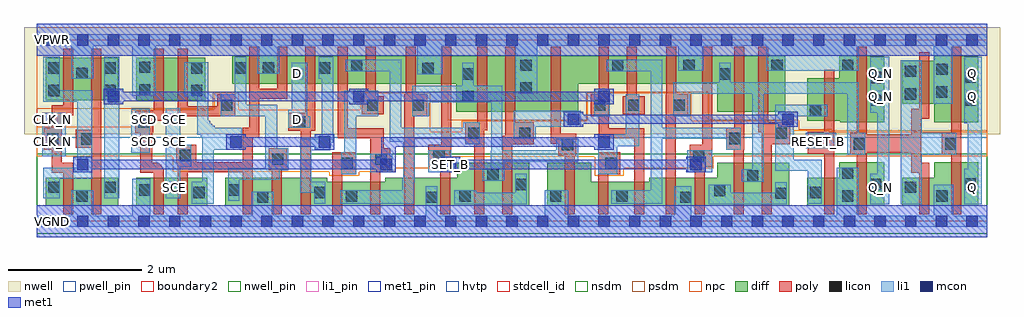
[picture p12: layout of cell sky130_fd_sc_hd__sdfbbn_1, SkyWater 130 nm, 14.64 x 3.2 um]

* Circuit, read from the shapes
.subckt sky130_fd_sc_hd__sdfbbn_1 CLK_N D Q Q_N RESET_B SCD SCE SET_B VGND VNB VPB VPWR
XM1 VGND CLK_N n1 VNB sky130_fd_pr__nfet_01v8 w=0.42 l=0.15
XM2 n2 n1 VGND VNB sky130_fd_pr__nfet_01v8 w=0.42 l=0.15
XM3 n3 SCD VGND VNB sky130_fd_pr__nfet_01v8 w=0.42 l=0.15
XM4 n4 SCE n3 VNB sky130_fd_pr__nfet_01v8 w=0.42 l=0.15
XM5 VGND SCE n5 VNB sky130_fd_pr__nfet_01v8 w=0.42 l=0.15
XM6 n6 n5 VGND VNB sky130_fd_pr__nfet_01v8 w=0.42 l=0.15
XM7 n4 D n6 VNB sky130_fd_pr__nfet_01v8 w=0.42 l=0.15
XM8 n7 n2 n4 VNB sky130_fd_pr__nfet_01v8 w=0.36 l=0.15
XM9 n8 n1 n7 VNB sky130_fd_pr__nfet_01v8 w=0.36 l=0.15
XM10 VGND n9 n8 VNB sky130_fd_pr__nfet_01v8 w=0.42 l=0.15
XM11 n10 SET_B VGND VNB sky130_fd_pr__nfet_01v8 w=0.42 l=0.15
XM12 n9 n7 n10 VNB sky130_fd_pr__nfet_01v8 w=0.64 l=0.15
XM13 n10 n11 n9 VNB sky130_fd_pr__nfet_01v8 w=0.64 l=0.15
XM14 n12 n9 VGND VNB sky130_fd_pr__nfet_01v8 w=0.64 l=0.15
XM15 n13 n1 n12 VNB sky130_fd_pr__nfet_01v8 w=0.36 l=0.15
XM16 n14 n2 n13 VNB sky130_fd_pr__nfet_01v8 w=0.36 l=0.15
XM17 VGND n15 n14 VNB sky130_fd_pr__nfet_01v8 w=0.42 l=0.15
XM18 n16 SET_B VGND VNB sky130_fd_pr__nfet_01v8 w=0.42 l=0.15
XM19 n15 n13 n16 VNB sky130_fd_pr__nfet_01v8 w=0.64 l=0.15
XM20 n16 n11 n15 VNB sky130_fd_pr__nfet_01v8 w=0.64 l=0.15
XM21 VGND RESET_B n11 VNB sky130_fd_pr__nfet_01v8 w=0.42 l=0.15
XM22 Q_N n15 VGND VNB sky130_fd_pr__nfet_01v8 w=0.65 l=0.15
XM23 VGND n15 n17 VNB sky130_fd_pr__nfet_01v8 w=0.42 l=0.15
XM24 Q n17 VGND VNB sky130_fd_pr__nfet_01v8 w=0.65 l=0.15
XM25 VPWR CLK_N n1 VPB sky130_fd_pr__pfet_01v8_hvt w=0.64 l=0.15
XM26 n2 n1 VPWR VPB sky130_fd_pr__pfet_01v8_hvt w=0.64 l=0.15
XM27 n18 SCD VPWR VPB sky130_fd_pr__pfet_01v8_hvt w=0.64 l=0.15
XM28 n4 n5 n18 VPB sky130_fd_pr__pfet_01v8_hvt w=0.64 l=0.15
XM29 VPWR SCE n5 VPB sky130_fd_pr__pfet_01v8_hvt w=0.42 l=0.15
XM30 n19 SCE VPWR VPB sky130_fd_pr__pfet_01v8_hvt w=0.42 l=0.15
XM31 n4 D n19 VPB sky130_fd_pr__pfet_01v8_hvt w=0.42 l=0.15
XM32 n7 n1 n4 VPB sky130_fd_pr__pfet_01v8_hvt w=0.42 l=0.15
XM33 n20 n2 n7 VPB sky130_fd_pr__pfet_01v8_hvt w=0.42 l=0.15
XM34 VPWR n9 n20 VPB sky130_fd_pr__pfet_01v8_hvt w=0.42 l=0.15
XM35 n9 SET_B VPWR VPB sky130_fd_pr__pfet_01v8_hvt w=0.42 l=0.15
XM36 n21 n7 n9 VPB sky130_fd_pr__pfet_01v8_hvt w=0.84 l=0.15
XM37 VPWR n11 n21 VPB sky130_fd_pr__pfet_01v8_hvt w=0.84 l=0.15
XM38 n22 n9 VPWR VPB sky130_fd_pr__pfet_01v8_hvt w=0.84 l=0.15
XM39 n13 n2 n22 VPB sky130_fd_pr__pfet_01v8_hvt w=0.42 l=0.15
XM40 n23 n1 n13 VPB sky130_fd_pr__pfet_01v8_hvt w=0.42 l=0.15
XM41 VPWR n15 n23 VPB sky130_fd_pr__pfet_01v8_hvt w=0.42 l=0.15
XM42 n15 SET_B VPWR VPB sky130_fd_pr__pfet_01v8_hvt w=0.42 l=0.15
XM43 n24 n13 n15 VPB sky130_fd_pr__pfet_01v8_hvt w=0.84 l=0.15
XM44 VPWR n11 n24 VPB sky130_fd_pr__pfet_01v8_hvt w=0.84 l=0.15
XM45 VPWR RESET_B n11 VPB sky130_fd_pr__pfet_01v8_hvt w=0.64 l=0.15
XM46 Q_N n15 VPWR VPB sky130_fd_pr__pfet_01v8_hvt w=1 l=0.15
XM47 VPWR n15 n17 VPB sky130_fd_pr__pfet_01v8_hvt w=0.64 l=0.15
XM48 Q n17 VPWR VPB sky130_fd_pr__pfet_01v8_hvt w=1 l=0.15
.ends

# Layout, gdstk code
import gdstk
lib = gdstk.Library(unit=1e-6, precision=1e-09)
def R(c, l, rs):  # rectangles x0, y0, x1, y1
    for r in rs: c.add(gdstk.rectangle(r[:2], r[2:], *l))
def A(c, l, x, y, w, h, nx, ny, dx, dy):  # array of equal rectangles
    R(c, l, [(x+i*dx, y+j*dy, x+i*dx+w, y+j*dy+h) for i in range(nx) for j in range(ny)])
def P(c, l, *ps):  # polygons
    for p in ps: c.add(gdstk.Polygon(p, *l))
nwell_pin = (64, 16)
nwell = (64, 20)
diff = (65, 20)
poly = (66, 20)
licon = (66, 44)
li1_pin = (67, 16)
li1 = (67, 20)
mcon = (67, 44)
met1_pin = (68, 16)
met1 = (68, 20)
hvtp = (78, 44)
stdcell_id = (81, 4)
nsdm = (93, 44)
psdm = (94, 20)
npc = (95, 20)
pwell_pin = (122, 16)
boundary2 = (236, 0)

sky130_fd_sc_hd__sdfbbn_ = lib.new_cell('sky130_fd_sc_hd__sdfbbn_1')
R(sky130_fd_sc_hd__sdfbbn_, nwell_pin, [(0.145,2.635,0.315,2.805), (0.145,2.635,0.315,2.805)])
R(sky130_fd_sc_hd__sdfbbn_, nwell, [(-0.19,1.305,14.45,2.91)])
R(sky130_fd_sc_hd__sdfbbn_, diff, [(0.135,0.235,1.225,0.655), (1.495,0.235,2.56,0.655), (0.135,1.815,1.225,2.455), (1.495,1.815,2.525,2.455)])
P(sky130_fd_sc_hd__sdfbbn_, diff, [(14.125,2.485),(13.465,2.485),(13.465,2.405),(12.98,2.405),(12.98,1.765),(13.465,1.765),(13.465,1.485),(14.125,1.485)],
  [(7.39,0.875),(6.31,0.875),(6.31,0.655),(5.225,0.655),(5.225,0.595),(4.36,0.595),(4.36,0.655),(2.83,0.655),(2.83,0.235),(7.39,0.235)],
  [(14.125,0.885),(13.465,0.885),(13.465,0.655),(12.98,0.655),(12.98,0.235),(14.125,0.235)],
  [(12.71,0.885),(12.04,0.885),(12.04,0.655),(11.555,0.655),(11.555,0.235),(12.71,0.235)],
  [(11.23,2.485),(2.93,2.485),(2.93,2.065),(6.295,2.065),(6.295,1.645),(8.12,1.645),(8.12,2.065),(10.205,2.065),(10.205,1.645),(11.23,1.645)],
  [(11.285,0.875),(10.205,0.875),(10.205,0.655),(9.185,0.655),(9.185,0.595),(8.32,0.595),(8.32,0.875),(7.66,0.875),(7.66,0.235),(11.285,0.235)],
  [(12.71,2.485),(12.04,2.485),(12.04,2.145),(11.555,2.145),(11.555,1.505),(12.05,1.505),(12.05,1.485),(12.71,1.485)])
R(sky130_fd_sc_hd__sdfbbn_, poly, [(7.92,0.105,8.07,1)])
P(sky130_fd_sc_hd__sdfbbn_, poly, [(0.545,0.88),(0.375,0.88),(0.375,1.59),(0.545,1.59),(0.545,2.585),(0.395,2.585),(0.395,1.74),(0.225,1.74),(0.225,1.4),(0.105,1.4),(0.105,1.07),(0.225,1.07),(0.225,0.73),(0.395,0.73),(0.395,0.105),(0.545,0.105)],
  [(0.965,2.585),(0.815,2.585),(0.815,1.37),(0.585,1.37),(0.585,1.1),(0.815,1.1),(0.815,0.105),(0.965,0.105)],
  [(1.905,0.785),(1.895,0.785),(1.895,0.805),(1.885,0.805),(1.885,0.82),(1.875,0.82),(1.875,0.835),(1.865,0.835),(1.865,0.845),(1.855,0.845),(1.855,0.85),(1.845,0.85),(1.845,0.86),(1.83,0.86),(1.83,0.87),(1.81,0.87),(1.81,0.88),(1.73,0.88),(1.73,1.325),(1.745,1.325),(1.745,1.505),(1.905,1.505),(1.905,2.585),(1.755,2.585),(1.755,1.655),(1.475,1.655),(1.475,1.325),(1.555,1.325),(1.555,0.73),(1.755,0.73),(1.755,0.105),(1.905,0.105)],
  [(2.98,1.905),(2.71,1.905),(2.71,1.725),(2.265,1.725),(2.265,2.585),(2.115,2.585),(2.115,1.575),(2.96,1.575),(2.96,1.585),(2.97,1.585),(2.97,1.59),(2.98,1.59)],
  [(3.75,1.095),(3.48,1.095),(3.48,0.765),(3.525,0.765),(3.525,0.105),(3.675,0.105),(3.675,0.765),(3.75,0.765)],
  [(3.76,2.615),(3.61,2.615),(3.61,1.985),(3.34,1.985),(3.34,2.615),(3.19,2.615),(3.19,1.405),(3.09,1.405),(3.09,0.885),(2.395,0.885),(2.395,1.15),(2.09,1.15),(2.09,0.885),(2.095,0.885),(2.095,0.875),(2.1,0.875),(2.1,0.865),(2.105,0.865),(2.105,0.85),(2.11,0.85),(2.11,0.835),(2.115,0.835),(2.115,0.105),(2.265,0.105),(2.265,0.735),(3.09,0.735),(3.09,0.105),(3.24,0.105),(3.24,1.255),(3.34,1.255),(3.34,1.835),(3.76,1.835)],
  [(4.18,2.615),(4.03,2.615),(4.03,1.625),(3.775,1.625),(3.775,1.355),(3.96,1.355),(3.96,0.105),(4.11,0.105),(4.11,1.355),(4.18,1.355)],
  [(4.79,1.035),(4.435,1.035),(4.435,0.105),(4.585,0.105),(4.585,0.705),(4.79,0.705)],
  [(5.205,1.875),(5.085,1.875),(5.085,2.615),(4.935,2.615),(4.935,1.875),(4.875,1.875),(4.875,1.605),(5.205,1.605)],
  [(5.3,1.095),(5.205,1.095),(5.205,1.395),(4.665,1.395),(4.665,2.615),(4.515,2.615),(4.515,1.245),(5,1.245),(5,0.105),(5.15,0.105),(5.15,0.765),(5.3,0.765)],
  [(5.855,1.905),(5.685,1.905),(5.685,2.615),(5.535,2.615),(5.535,1.905),(5.51,1.905),(5.51,0.105),(5.66,0.105),(5.66,1.575),(5.855,1.575)],
  [(6.215,2.615),(6.065,2.615),(6.065,1.145),(5.87,1.145),(5.87,0.815),(6.055,0.815),(6.055,0.105),(6.205,0.105),(6.205,1.065),(6.215,1.065)],
  [(13.39,0.88),(13.265,0.88),(13.265,1.535),(13.39,1.535),(13.39,2.535),(13.24,2.535),(13.24,1.685),(13.115,1.685),(13.115,1.295),(12.45,1.295),(12.45,2.615),(12.3,2.615),(12.3,1.325),(12.205,1.325),(12.205,0.995),(12.3,0.995),(12.3,0.105),(12.45,0.105),(12.45,1.025),(13.115,1.025),(13.115,0.73),(13.24,0.73),(13.24,0.105),(13.39,0.105)],
  [(11.3,1.485),(10.97,1.485),(10.97,2.615),(10.82,2.615),(10.82,1.335),(10.875,1.335),(10.875,0.105),(11.025,0.105),(11.025,1.155),(11.3,1.155)],
  [(10.13,2.615),(9.98,2.615),(9.98,1.145),(9.795,1.145),(9.795,0.815),(9.87,0.815),(9.87,0.105),(10.02,0.105),(10.02,0.815),(10.13,0.815)],
  [(9.77,1.905),(9.59,1.905),(9.59,2.615),(9.44,2.615),(9.44,1.905),(9.435,1.905),(9.435,0.105),(9.585,0.105),(9.585,1.575),(9.77,1.575)],
  [(6.755,2.615),(6.605,2.615),(6.605,1.485),(6.425,1.485),(6.425,1.155),(6.56,1.155),(6.56,0.105),(6.71,0.105),(6.71,1.365),(6.755,1.365)],
  [(8.095,1.315),(7.86,1.315),(7.86,2.615),(7.71,2.615),(7.71,1.165),(7.825,1.165),(7.825,0.985),(8.095,0.985)],
  [(7.455,1.485),(7.175,1.485),(7.175,2.615),(7.025,2.615),(7.025,1.285),(6.98,1.285),(6.98,0.105),(7.13,0.105),(7.13,1.155),(7.455,1.155)],
  [(11.965,2.275),(11.815,2.275),(11.815,1.345),(11.565,1.345),(11.565,1.015),(11.815,1.015),(11.815,0.105),(11.965,0.105)],
  [(8.75,1.035),(8.42,1.035),(8.42,0.105),(8.57,0.105),(8.57,0.705),(8.75,0.705)],
  [(9.11,1.395),(8.58,1.395),(8.58,2.615),(8.43,2.615),(8.43,1.905),(8.31,1.905),(8.31,1.575),(8.43,1.575),(8.43,1.245),(8.96,1.245),(8.96,0.105),(9.11,0.105)],
  [(9.12,1.875),(9,1.875),(9,2.615),(8.85,2.615),(8.85,1.875),(8.79,1.875),(8.79,1.605),(9.12,1.605)],
  [(10.61,2.615),(10.46,2.615),(10.46,1.405),(10.34,1.405),(10.34,1.075),(10.455,1.075),(10.455,0.105),(10.605,0.105),(10.605,1.075),(10.61,1.075)],
  [(13.865,2.615),(13.715,2.615),(13.715,1.325),(13.575,1.325),(13.575,0.995),(13.715,0.995),(13.715,0.105),(13.865,0.105)])
R(sky130_fd_sc_hd__sdfbbn_, licon, [(3.305,0.275,3.475,0.445), (5.835,0.275,6.005,0.445), (9.65,0.275,9.82,0.445), (0.595,0.295,0.765,0.465), (4.635,0.295,4.805,0.465), (6.34,0.295,6.51,0.465), (7.7,0.295,7.87,0.465), (8.695,0.295,8.865,0.465), (12.08,0.295,12.25,0.465), (13.495,0.295,13.665,0.465), (11.075,0.335,11.245,0.505), (2.35,0.345,2.52,0.515), (4.16,0.345,4.33,0.515), (11.595,0.345,11.765,0.515), (10.16,0.375,10.33,0.545), (1.535,0.385,1.705,0.555), (2.87,0.385,3.04,0.555), (0.175,0.425,0.345,0.595), (1.015,0.425,1.185,0.595), (13.02,0.425,13.19,0.595), (7.18,0.465,7.35,0.635), (12.5,0.465,12.67,0.635), (13.915,0.475,14.085,0.645), (10.655,0.595,10.825,0.765), (6.76,0.61,6.93,0.78), (12.08,0.635,12.25,0.805), (4.57,0.785,4.74,0.955), (8.53,0.785,8.7,0.955), (3.53,0.845,3.7,1.015), (5.08,0.845,5.25,1.015), (5.95,0.895,6.12,1.065), (9.845,0.895,10.015,1.065), (2.145,0.9,2.315,1.07), (7.875,1.065,8.045,1.235), (12.255,1.075,12.425,1.245), (13.625,1.075,13.795,1.245), (11.615,1.095,11.785,1.265), (0.155,1.15,0.325,1.32), (0.665,1.15,0.835,1.32), (10.39,1.155,10.56,1.325), (6.475,1.235,6.645,1.405), (7.235,1.235,7.405,1.405), (11.08,1.235,11.25,1.405), (1.525,1.405,1.695,1.575), (3.855,1.405,4.025,1.575), (11.595,1.575,11.765,1.745), (2.76,1.655,2.93,1.825), (4.955,1.655,5.125,1.825), (5.635,1.655,5.805,1.825), (8.36,1.655,8.53,1.825), (8.87,1.655,9.04,1.825), (9.55,1.655,9.72,1.825), (12.5,1.73,12.67,1.9), (13.915,1.735,14.085,1.905), (6.385,1.785,6.555,1.955), (13.02,1.825,13.19,1.995), (13.49,1.855,13.66,2.025), (0.175,1.875,0.345,2.045), (1.015,1.875,1.185,2.045), (2.315,1.875,2.485,2.045), (1.535,1.885,1.705,2.055), (7.255,1.915,7.425,2.085), (12.5,2.07,12.67,2.24), (13.915,2.075,14.085,2.245), (6.385,2.125,6.555,2.295), (10.24,2.125,10.41,2.295), (0.595,2.135,0.765,2.305), (13.02,2.165,13.19,2.335), (13.495,2.195,13.665,2.365), (5.785,2.205,5.955,2.375), (0.175,2.215,0.345,2.385), (1.015,2.215,1.185,2.385), (2.315,2.215,2.485,2.385), (2.97,2.215,3.14,2.385), (3.39,2.215,3.56,2.385), (4.23,2.215,4.4,2.385), (1.535,2.225,1.705,2.395), (4.715,2.25,4.885,2.42), (8.63,2.25,8.8,2.42), (7.255,2.255,7.425,2.425), (9.7,2.255,9.87,2.425), (11.02,2.255,11.19,2.425), (12.08,2.255,12.25,2.425)])
R(sky130_fd_sc_hd__sdfbbn_, li1_pin, [(0.145,-0.085,0.315,0.085), (1.985,0.425,2.155,0.595), (12.565,0.425,12.735,0.595), (13.945,0.425,14.115,0.595), (6.125,0.765,6.295,0.935), (0.145,1.105,0.315,1.275), (1.525,1.105,1.695,1.275), (1.985,1.105,2.155,1.275), (11.645,1.105,11.815,1.275), (0.145,1.445,0.315,1.615), (1.525,1.445,1.695,1.615), (1.985,1.445,2.155,1.615), (3.825,1.445,3.995,1.615), (12.565,1.785,12.735,1.955), (13.945,1.785,14.115,1.955), (3.825,2.125,3.995,2.295), (12.565,2.125,12.735,2.295), (13.945,2.125,14.115,2.295), (0.145,2.635,0.315,2.805)])
R(sky130_fd_sc_hd__sdfbbn_, li1, [(1.015,0.345,1.235,2.465), (5,0.735,5.33,1.015), (9.755,0.735,10.13,1.065), (0.085,0.975,0.435,1.625), (1.415,1.025,1.695,1.685), (11.535,1.095,11.99,1.325), (8.36,1.575,8.595,1.985)])
P(sky130_fd_sc_hd__sdfbbn_, li1, [(0.835,1.965),(0.345,1.965),(0.345,2.465),(0.095,2.465),(0.095,1.795),(0.605,1.795),(0.605,0.805),(0.095,0.805),(0.095,0.345),(0.345,0.345),(0.345,0.635),(0.835,0.635)],
  [(2.315,1.15),(2.155,1.15),(2.155,1.695),(1.935,1.695),(1.935,0.345),(2.155,0.345),(2.155,0.815),(2.315,0.815)],
  [(6.645,1.485),(6.395,1.485),(6.395,1.405),(5.465,1.405),(5.465,2.42),(4.635,2.42),(4.635,2.25),(5.295,2.25),(5.295,1.195),(5.5,1.195),(5.5,0.655),(5.485,0.655),(5.485,0.465),(4.555,0.465),(4.555,0.265),(5.655,0.265),(5.655,0.585),(5.67,0.585),(5.67,1.235),(6.425,1.235),(6.425,1.155),(6.645,1.155)],
  [(13.795,1.325),(13.275,1.325),(13.275,2.415),(12.96,2.415),(12.96,0.255),(13.275,0.255),(13.275,0.995),(13.795,0.995)],
  [(3.075,1.405),(2.67,1.405),(2.67,1.43),(2.63,1.43),(2.63,1.465),(2.605,1.465),(2.605,1.505),(2.575,1.505),(2.575,2.385),(2.215,2.385),(2.215,1.875),(2.405,1.875),(2.405,1.295),(2.46,1.295),(2.46,1.255),(2.485,1.255),(2.485,0.595),(2.325,0.595),(2.325,0.265),(2.655,0.265),(2.655,1.075),(3.075,1.075)],
  [(3.77,1.095),(3.605,1.095),(3.605,1.745),(3.14,1.745),(3.14,2.465),(2.97,2.465),(2.97,1.905),(2.76,1.905),(2.76,1.575),(3.43,1.575),(3.43,0.795),(2.87,0.795),(2.87,0.305),(3.04,0.305),(3.04,0.625),(3.645,0.625),(3.645,0.765),(3.77,0.765)],
  [(11.25,0.585),(11.075,0.585),(11.075,0.425),(10.41,0.425),(10.41,0.545),(10.08,0.545),(10.08,0.255),(11.25,0.255)],
  [(14.26,0.085),(13.745,0.085),(13.745,0.545),(13.455,0.545),(13.455,0.085),(12.33,0.085),(12.33,0.805),(12,0.805),(12,0.085),(9.82,0.085),(9.82,0.525),(9.56,0.525),(9.56,0.085),(7.975,0.085),(7.975,0.465),(7.62,0.465),(7.62,0.085),(6.005,0.085),(6.005,0.525),(5.835,0.525),(5.835,0.085),(3.555,0.085),(3.555,0.445),(3.225,0.445),(3.225,0.085),(1.705,0.085),(1.705,0.635),(1.43,0.635),(1.43,0.085),(0.845,0.085),(0.845,0.465),(0.515,0.465),(0.515,0.085),(0,0.085),(0,-0.085),(14.26,-0.085)],
  [(14.26,2.805),(0,2.805),(0,2.635),(0.515,2.635),(0.515,2.135),(0.845,2.135),(0.845,2.635),(1.43,2.635),(1.43,1.885),(1.785,1.885),(1.785,2.635),(3.31,2.635),(3.31,2.215),(3.64,2.215),(3.64,2.635),(5.705,2.635),(5.705,2.205),(6.085,2.205),(6.085,2.635),(7.175,2.635),(7.175,1.915),(7.505,1.915),(7.505,2.635),(9.62,2.635),(9.62,2.255),(10,2.255),(10,2.635),(10.94,2.635),(10.94,2.255),(12.33,2.255),(12.33,2.635),(13.455,2.635),(13.455,1.765),(13.74,1.765),(13.74,2.635),(14.26,2.635)],
  [(6.295,0.965),(6.215,0.965),(6.215,1.065),(5.87,1.065),(5.87,0.735),(6.295,0.735)],
  [(4.105,1.575),(4.06,1.575),(4.06,2.375),(3.825,2.375),(3.825,1.675),(3.775,1.675),(3.775,1.405),(4.105,1.405)],
  [(5.125,1.955),(4.615,1.955),(4.615,1.035),(4.57,1.035),(4.57,0.705),(4.79,0.705),(4.79,1.575),(5.125,1.575)],
  [(11.855,1.745),(11.08,1.745),(11.08,0.755),(11.565,0.755),(11.565,0.265),(11.775,0.265),(11.775,0.925),(11.355,0.925),(11.355,1.575),(11.855,1.575)],
  [(12.785,2.465),(12.5,2.465),(12.5,1.63),(12.605,1.63),(12.605,0.715),(12.5,0.715),(12.5,0.255),(12.785,0.255)],
  [(12.425,1.325),(12.33,1.325),(12.33,2.085),(10.41,2.085),(10.41,2.375),(10.24,2.375),(10.24,2.085),(9.55,2.085),(9.55,1.575),(9.8,1.575),(9.8,1.915),(10.73,1.915),(10.73,0.78),(10.575,0.78),(10.575,0.595),(10.905,0.595),(10.905,1.915),(12.16,1.915),(12.16,0.995),(12.425,0.995)],
  [(4.445,2.465),(4.23,2.465),(4.23,2.135),(4.275,2.135),(4.275,1.305),(4.245,1.305),(4.245,1.275),(4.225,1.275),(4.225,1.235),(3.95,1.235),(3.95,0.425),(4.16,0.425),(4.16,0.265),(4.33,0.265),(4.33,0.595),(4.12,0.595),(4.12,1.065),(4.4,1.065),(4.4,1.105),(4.41,1.105),(4.41,1.175),(4.445,1.175)],
  [(7.35,0.715),(7.18,0.715),(7.18,0.425),(6.59,0.425),(6.59,0.465),(6.26,0.465),(6.26,0.255),(7.35,0.255)],
  [(8.125,1.235),(7.795,1.235),(7.795,1.065),(6.985,1.065),(6.985,2.035),(6.555,2.035),(6.555,2.375),(6.385,2.375),(6.385,2.035),(5.635,2.035),(5.635,1.575),(5.885,1.575),(5.885,1.785),(6.815,1.785),(6.815,1.06),(6.81,1.06),(6.81,0.78),(6.68,0.78),(6.68,0.61),(7.01,0.61),(7.01,0.895),(8.125,0.895)],
  [(8.16,1.655),(7.155,1.655),(7.155,1.235),(7.485,1.235),(7.485,1.415),(8.16,1.415)],
  [(9.04,1.905),(8.835,1.905),(8.835,1.305),(8.42,1.305),(8.42,0.705),(8.705,0.705),(8.705,1.125),(9.04,1.125)],
  [(10.56,1.405),(9.38,1.405),(9.38,2.42),(8.55,2.42),(8.55,2.25),(9.21,2.25),(9.21,0.465),(8.615,0.465),(8.615,0.265),(9.38,0.265),(9.38,1.235),(10.34,1.235),(10.34,1.075),(10.56,1.075)],
  [(14.175,2.465),(13.915,2.465),(13.915,1.47),(13.965,1.47),(13.965,0.785),(13.915,0.785),(13.915,0.255),(14.175,0.255)])
A(sky130_fd_sc_hd__sdfbbn_, mcon, 0.145, -0.085, 0.17, 0.17, 31, 2, 0.46, 2.72)
A(sky130_fd_sc_hd__sdfbbn_, mcon, 1.065, 1.785, 0.17, 0.17, 3, 1, 3.68, 0)
R(sky130_fd_sc_hd__sdfbbn_, mcon, [(0.605,0.765,0.775,0.935), (5.155,0.765,5.325,0.935), (6.125,0.765,6.295,0.935), (9.805,0.765,9.975,0.935), (2.905,1.105,3.075,1.275), (4.23,1.105,4.4,1.275), (8.425,1.105,8.595,1.275), (7.965,1.445,8.135,1.615), (11.185,1.445,11.355,1.615)])
R(sky130_fd_sc_hd__sdfbbn_, met1_pin, [(0.145,-0.085,0.315,0.085), (0.145,2.635,0.315,2.805)])
R(sky130_fd_sc_hd__sdfbbn_, met1, [(0,-0.24,14.26,0.24), (0,2.48,14.26,2.96)])
P(sky130_fd_sc_hd__sdfbbn_, met1, [(4.46,1.305),(4.17,1.305),(4.17,1.26),(3.135,1.26),(3.135,1.305),(2.845,1.305),(2.845,1.075),(3.135,1.075),(3.135,1.12),(4.17,1.12),(4.17,1.075),(4.46,1.075)],
  [(8.655,1.985),(8.365,1.985),(8.365,1.94),(4.975,1.94),(4.975,1.985),(4.685,1.985),(4.685,1.94),(1.295,1.94),(1.295,1.985),(1.005,1.985),(1.005,1.755),(1.295,1.755),(1.295,1.8),(4.685,1.8),(4.685,1.755),(4.975,1.755),(4.975,1.8),(8.365,1.8),(8.365,1.755),(8.655,1.755)],
  [(8.655,1.305),(8.365,1.305),(8.365,1.26),(5.17,1.26),(5.17,0.965),(5.095,0.965),(5.095,0.92),(0.835,0.92),(0.835,0.965),(0.545,0.965),(0.545,0.735),(0.835,0.735),(0.835,0.78),(5.095,0.78),(5.095,0.735),(5.385,0.735),(5.385,1.12),(8.365,1.12),(8.365,1.075),(8.655,1.075)],
  [(10.035,0.965),(9.745,0.965),(9.745,0.92),(6.355,0.92),(6.355,0.965),(6.065,0.965),(6.065,0.735),(6.355,0.735),(6.355,0.78),(9.745,0.78),(9.745,0.735),(10.035,0.735)],
  [(11.415,1.645),(11.125,1.645),(11.125,1.6),(8.195,1.6),(8.195,1.645),(7.905,1.645),(7.905,1.415),(8.195,1.415),(8.195,1.46),(11.125,1.46),(11.125,1.415),(11.415,1.415)])
R(sky130_fd_sc_hd__sdfbbn_, hvtp, [(0,1.25,14.26,2.72)])
R(sky130_fd_sc_hd__sdfbbn_, stdcell_id, [(0,0,14.26,2.72)])
R(sky130_fd_sc_hd__sdfbbn_, nsdm, [(0,-0.19,14.26,1.015)])
P(sky130_fd_sc_hd__sdfbbn_, psdm, [(14.26,2.91),(0,2.91),(0,1.685),(2.65,1.685),(2.65,1.935),(6.165,1.935),(6.165,1.515),(8.25,1.515),(8.25,1.935),(10.075,1.935),(10.075,1.515),(11.43,1.515),(11.43,1.375),(11.935,1.375),(11.935,1.355),(14.26,1.355)])
P(sky130_fd_sc_hd__sdfbbn_, npc, [(14.26,1.345),(11.885,1.345),(11.885,1.365),(11.35,1.365),(11.35,1.505),(9.82,1.505),(9.82,1.925),(8.26,1.925),(8.26,1.505),(6.375,1.505),(6.375,1.345),(5.905,1.345),(5.905,1.925),(4.855,1.925),(4.855,1.675),(3.03,1.675),(3.03,1.925),(2.66,1.925),(2.66,1.675),(1.425,1.675),(1.425,1.42),(0,1.42),(0,0.975),(2.04,0.975),(2.04,0.745),(4.385,0.745),(4.385,0.685),(4.835,0.685),(4.835,0.745),(5.375,0.745),(5.375,0.795),(6.235,0.795),(6.235,0.965),(8.37,0.965),(8.37,0.685),(8.805,0.685),(8.805,0.795),(10.15,0.795),(10.15,0.975),(14.26,0.975)])
R(sky130_fd_sc_hd__sdfbbn_, pwell_pin, [(0.145,-0.085,0.315,0.085), (0.145,-0.085,0.315,0.085)])
R(sky130_fd_sc_hd__sdfbbn_, boundary2, [(0,0,14.26,2.72)])
sky130_fd_sc_hd__sdfbbn_.add(gdstk.Label('SCD', (1.61,1.53), layer=67, texttype=5))
sky130_fd_sc_hd__sdfbbn_.add(gdstk.Label('SCD', (1.61,1.19), layer=67, texttype=5))
sky130_fd_sc_hd__sdfbbn_.add(gdstk.Label('SCE', (2.07,1.53), layer=67, texttype=5))
sky130_fd_sc_hd__sdfbbn_.add(gdstk.Label('SCE', (2.07,1.19), layer=67, texttype=5))
sky130_fd_sc_hd__sdfbbn_.add(gdstk.Label('SCE', (2.07,0.51), layer=67, texttype=5))
sky130_fd_sc_hd__sdfbbn_.add(gdstk.Label('RESET_B', (11.73,1.19), layer=67, texttype=5))
sky130_fd_sc_hd__sdfbbn_.add(gdstk.Label('VGND', (0.23,0), layer=67, texttype=5))
sky130_fd_sc_hd__sdfbbn_.add(gdstk.Label('CLK_N', (0.23,1.19), layer=67, texttype=5))
sky130_fd_sc_hd__sdfbbn_.add(gdstk.Label('CLK_N', (0.23,1.53), layer=67, texttype=5))
sky130_fd_sc_hd__sdfbbn_.add(gdstk.Label('SET_B', (6.21,0.85), layer=67, texttype=5))
sky130_fd_sc_hd__sdfbbn_.add(gdstk.Label('Q', (14.03,0.51), layer=67, texttype=5))
sky130_fd_sc_hd__sdfbbn_.add(gdstk.Label('Q', (14.03,1.87), layer=67, texttype=5))
sky130_fd_sc_hd__sdfbbn_.add(gdstk.Label('Q', (14.03,2.21), layer=67, texttype=5))
sky130_fd_sc_hd__sdfbbn_.add(gdstk.Label('VPWR', (0.23,2.72), layer=67, texttype=5))
sky130_fd_sc_hd__sdfbbn_.add(gdstk.Label('D', (3.91,1.53), layer=67, texttype=5))
sky130_fd_sc_hd__sdfbbn_.add(gdstk.Label('D', (3.91,2.21), layer=67, texttype=5))
sky130_fd_sc_hd__sdfbbn_.add(gdstk.Label('Q_N', (12.65,2.21), layer=67, texttype=5))
sky130_fd_sc_hd__sdfbbn_.add(gdstk.Label('Q_N', (12.65,1.87), layer=67, texttype=5))
sky130_fd_sc_hd__sdfbbn_.add(gdstk.Label('Q_N', (12.65,0.51), layer=67, texttype=5))
sky130_fd_sc_hd__sdfbbn_.add(gdstk.Label('VGND', (0.23,0), layer=68, texttype=5))
sky130_fd_sc_hd__sdfbbn_.add(gdstk.Label('VPWR', (0.23,2.72), layer=68, texttype=5))
sky130_fd_sc_hd__sdfbbn_.add(gdstk.Label('VPB', (0.23,2.72), layer=64, texttype=5))
sky130_fd_sc_hd__sdfbbn_.add(gdstk.Label('VPB', (0.23,2.72), layer=64, texttype=5))
sky130_fd_sc_hd__sdfbbn_.add(gdstk.Label('VNB', (0.23,0), layer=64, texttype=59))
sky130_fd_sc_hd__sdfbbn_.add(gdstk.Label('VNB', (0.23,0), layer=64, texttype=59))
sky130_fd_sc_hd__sdfbbn_.add(gdstk.Label('sdfbbn_1', (0,0), layer=83, texttype=44))

lib.write_gds('sky130_fd_sc_hd__sdfbbn_1.gds')
